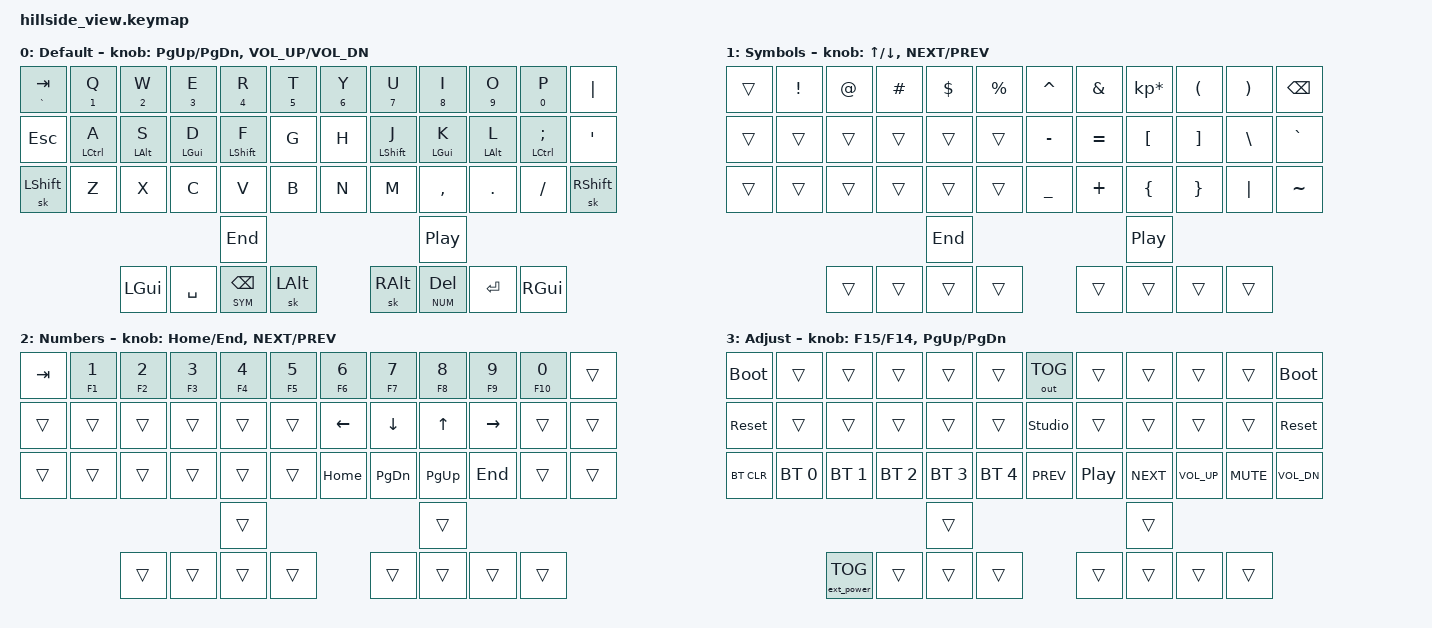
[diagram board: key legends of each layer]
#include <behaviors/studio_unlock.dtsi>
#include <behaviors.dtsi>
#include <dt-bindings/zmk/bt.h>
#include <dt-bindings/zmk/ext_power.h>
#include <dt-bindings/zmk/keys.h>
#include <dt-bindings/zmk/outputs.h>

#define DEF 0
#define SYM 1
#define NUM 2
#define ADJ 3
#define QUICK_TAP_MS 175
#define TAPPING_TERM_MS 150

&sk {
    release-after-ms = <600>;
    quick-release;
};

&nice_view {
  spi-max-frequency = <250000>;
};

/ {
    conditional_layers {
        compatible = "zmk,conditional-layers";

        tri_layer {
            if-layers = <SYM NUM>;
            then-layer = <ADJ>;
        };
    };

    combos {
        compatible = "zmk,combos";

        caps {
            timeout-ms = <50>;
            key-positions = <17 18>;  // G and H (home row shifts)
            bindings = <&caps_word>;
        };
    };

    behaviors {
        lq: layer_toggle_quick {
            compatible = "zmk,behavior-hold-tap";
            label = "Layer Toggle Quick";
            #binding-cells = <2>;
            flavor = "tap-preferred";
            tapping-term-ms = <TAPPING_TERM_MS>;
            quick-tap-ms = <QUICK_TAP_MS>;
            bindings = <&mo>, <&kp>;
        };

        ht: hold_tap {
            compatible = "zmk,behavior-hold-tap";
            label = "Hold Tap";
            #binding-cells = <2>;
            flavor = "tap-preferred";
            tapping-term-ms = <200>;
            quick-tap-ms = <175>;
            bindings = <&kp>, <&kp>;
        };

        htb: hold_tap_balanced {
            compatible = "zmk,behavior-hold-tap";
            label = "Hold Tap Balanced";
            #binding-cells = <2>;
            flavor = "balanced";
            tapping-term-ms = <200>;
            quick-tap-ms = <175>;
            bindings = <&kp>, <&kp>;
        };
    };

    keymap {
        compatible = "zmk,keymap";

        default_layer {
            display-name = "Default";
            bindings = <
    &ht GRAVE TAB  &ht N1 Q     &ht N2 W     &ht N3 E     &ht N4 R        &ht N5 T        &ht N6 Y    &ht N7 U        &ht N8 I     &ht N9 O     &ht N0 P        &kp PIPE
    &kp ESC        &ht LCTRL A  &ht LALT S   &ht LGUI D   &htb LSHIFT F   &kp G           &kp H       &htb LSHIFT J   &ht LGUI K   &ht LALT L   &ht LCTRL SEMI  &kp SQT
    &sk LSHFT      &kp Z        &kp X        &kp C        &kp V           &kp B           &kp N       &kp M           &kp COMMA    &kp DOT      &kp FSLH        &sk RSHFT
                                                           &kp END                                                      &kp C_PP
                                 &kp LGUI     &kp SPACE    &lq SYM BSPC    &sk LEFT_ALT                 &sk RIGHT_ALT   &lq NUM DEL  &kp RET      &kp RGUI
            >;

            sensor-bindings = <&inc_dec_kp PG_UP PG_DN &inc_dec_kp C_VOL_UP C_VOL_DN>;
        };

        sym_layer {
            display-name = "Symbols";
            bindings = <
    &trans   &kp EXCL   &kp AT     &kp HASH   &kp DLLR   &kp PRCNT       &kp CARET   &kp AMPS   &kp KP_MULTIPLY    &kp LPAR   &kp RPAR   &kp BSPC
    &trans   &trans     &trans     &trans     &trans     &trans          &kp MINUS   &kp EQUAL  &kp LBKT           &kp RBKT   &kp BSLH   &kp GRAVE
    &trans   &trans     &trans     &trans     &trans     &trans          &kp UNDER   &kp PLUS   &kp LBRC           &kp RBRC   &kp PIPE   &kp TILDE
                                               &kp END                                                               &kp C_PP
                        &trans     &trans     &trans     &trans                        &trans     &trans             &trans     &trans
            >;

            sensor-bindings = <&inc_dec_kp UP DOWN &inc_dec_kp C_NEXT C_PREV>;
        };

        num_layer {
            display-name = "Numbers";
            bindings = <
    &kp TAB  &ht F1 N1    &ht F2 N2    &ht F3 N3    &ht F4 N4    &ht F5 N5        &ht F6 N6  &ht F7 N7  &ht F8 N8  &ht F9 N9   &ht F10 N0    &trans
    &trans   &trans       &trans       &trans       &trans       &trans           &kp LEFT   &kp DOWN   &kp UP     &kp RIGHT   &trans        &trans
    &trans   &trans       &trans       &trans       &trans       &trans           &kp HOME   &kp PG_DN  &kp PG_UP  &kp END     &trans        &trans
                                                     &trans                                                          &trans
                          &trans       &trans       &trans       &trans                        &trans     &trans     &trans      &trans
            >;

            sensor-bindings = <&inc_dec_kp HOME END &inc_dec_kp C_NEXT C_PREV>;
        };

        adj_layer {
            display-name = "Adjust";
            bindings = <
    &bootloader   &trans         &trans         &trans         &trans         &trans             &out OUT_TOG     &trans   &trans     &trans         &trans       &bootloader
    &sys_reset    &trans         &trans         &trans         &trans         &trans             &studio_unlock   &trans   &trans     &trans         &trans       &sys_reset
    &bt BT_CLR    &bt BT_SEL 0   &bt BT_SEL 1   &bt BT_SEL 2   &bt BT_SEL 3   &bt BT_SEL 4       &kp C_PREV       &kp C_PP &kp C_NEXT &kp C_VOL_UP   &kp C_MUTE   &kp C_VOL_DN
                                                                 &trans                                                      &trans
                                  &ext_power EP_TOG &trans      &trans         &trans                               &trans   &trans     &trans         &trans
            >;

            // F15 and F14 are brightness controls for macOS
            sensor-bindings = <&inc_dec_kp F15 F14 &inc_dec_kp PG_UP PG_DN>;
        };
    };
};
